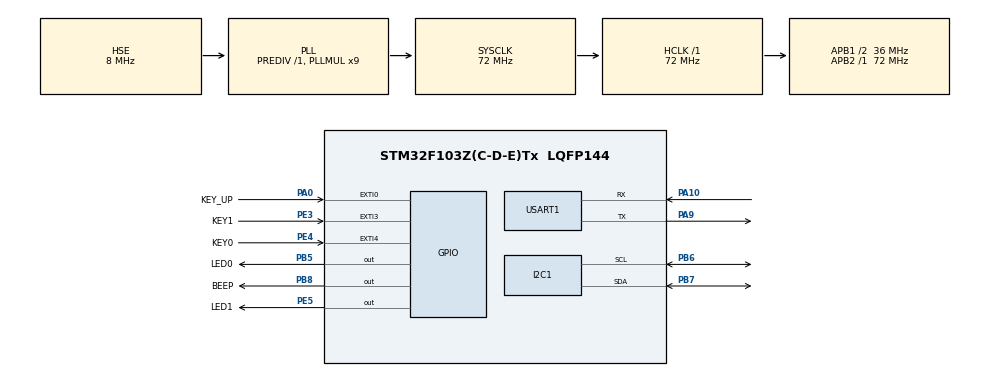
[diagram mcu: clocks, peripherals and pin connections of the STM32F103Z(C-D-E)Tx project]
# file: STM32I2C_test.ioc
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Mcu.Family=STM32F1
Mcu.Name=STM32F103Z(C-D-E)Tx
Mcu.Package=LQFP144
NVIC.EXTI0_IRQn=true\:1\:0\:true\:false\:true\:true\:true\:true
NVIC.EXTI3_IRQn=true\:1\:0\:true\:false\:true\:true\:true\:true
NVIC.EXTI4_IRQn=true\:1\:0\:true\:false\:true\:true\:true\:true
NVIC.I2C1_ER_IRQn=true\:0\:0\:false\:false\:true\:true\:true\:true
NVIC.I2C1_EV_IRQn=true\:0\:0\:false\:false\:true\:true\:true\:true
NVIC.PriorityGroup=NVIC_PRIORITYGROUP_4
NVIC.USART1_IRQn=true\:0\:0\:false\:false\:true\:true\:true\:true
OSC_IN.Mode=HSE-External-Oscillator
OSC_IN.Signal=RCC_OSC_IN
OSC_OUT.Mode=HSE-External-Oscillator
OSC_OUT.Signal=RCC_OSC_OUT
PA0-WKUP.GPIO_Label=KEY_UP
PA0-WKUP.GPIO_ModeDefaultEXTI=GPIO_MODE_IT_FALLING
PA0-WKUP.GPIO_PuPd=GPIO_PULLDOWN
PA0-WKUP.Signal=GPXTI0
PA10.Mode=Asynchronous
PA10.Signal=USART1_RX
PA13.Mode=Serial_Wire
PA13.Signal=SYS_JTMS-SWDIO
PA14.Mode=Serial_Wire
PA14.Signal=SYS_JTCK-SWCLK
PA9.Mode=Asynchronous
PA9.Signal=USART1_TX
PB5.GPIO_Label=LED0
PB5.GPIO_PuPd=GPIO_NOPULL
PB5.Signal=GPIO_Output
PB6.Mode=I2C
PB6.Signal=I2C1_SCL
PB7.Mode=I2C
PB7.Signal=I2C1_SDA
PB8.GPIO_Label=BEEP
PB8.Signal=GPIO_Output
PC14-OSC32_IN.Mode=LSE-External-Oscillator
PC14-OSC32_IN.Signal=RCC_OSC32_IN
PC15-OSC32_OUT.Mode=LSE-External-Oscillator
PC15-OSC32_OUT.Signal=RCC_OSC32_OUT
PE3.GPIO_Label=KEY1
PE3.GPIO_ModeDefaultEXTI=GPIO_MODE_IT_FALLING
PE3.GPIO_PuPd=GPIO_PULLUP
PE3.Signal=GPXTI3
PE4.GPIO_Label=KEY0
PE4.GPIO_ModeDefaultEXTI=GPIO_MODE_IT_FALLING
PE4.GPIO_PuPd=GPIO_PULLUP
PE4.Signal=GPXTI4
PE5.GPIO_Label=LED1
PE5.Signal=GPIO_Output
ProjectManager.HeapSize=0x200
ProjectManager.StackSize=0x400
ProjectManager.TargetToolchain=MDK-ARM V5
RCC.AHBFreq_Value=72000000
RCC.APB1CLKDivider=RCC_HCLK_DIV2
RCC.APB1Freq_Value=36000000
RCC.APB1TimFreq_Value=72000000
RCC.APB2Freq_Value=72000000
RCC.APB2TimFreq_Value=72000000
RCC.HCLKFreq_Value=72000000
RCC.PLLMUL=RCC_PLL_MUL9
RCC.PLLSourceVirtual=RCC_PLLSOURCE_HSE
RCC.SYSCLKFreq_VALUE=72000000
RCC.SYSCLKSource=RCC_SYSCLKSOURCE_PLLCLK
RCC.USBFreq_Value=72000000
USART1.VirtualMode=VM_ASYNC
board=custom

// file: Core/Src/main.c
/* USER CODE BEGIN Header */
/**
  ******************************************************************************
  * @file           : main.c
  * @brief          : Main program body
  ******************************************************************************
  * @attention
  *
  * Copyright (c) 2025 STMicroelectronics.
  * All rights reserved.
  *
  * This software is licensed under terms that can be found in the LICENSE file
  * in the root directory of this software component.
  * If no LICENSE file comes with this software, it is provided AS-IS.
  *
  ******************************************************************************
  */
/* USER CODE END Header */
#include "main.h"
#include "i2c.h"
#include "usart.h"
#include "gpio.h"

/* USER CODE BEGIN PD */
extern uint8_t Buffer[1]; // 来自usart.c
uint8_t data;
uint8_t data_a[8] = {1, 2, 3, 4, 5, 6, 7, 8};
uint8_t data_rec;
uint8_t data_rec_a[8] = {0};
uint8_t addr = 11;
int i;

/* USER CODE END PD */

void SystemClock_Config(void);

int main(void)
{

  /* MCU Configuration--------------------------------------------------------*/

  /* Reset of all peripherals, Initializes the Flash interface and the Systick. */
  HAL_Init();

  /* Configure the system clock */
  SystemClock_Config();

  /* Initialize all configured peripherals */
  MX_GPIO_Init();
  MX_USART1_UART_Init();
  MX_I2C1_Init();
  /* USER CODE BEGIN 2 */
  printf("USART1已准备就绪...\r\n");
  LED0_OFF;
  LED1_OFF;
  BEEP_OFF;
  printf("本次为STM32采用I2C与存储器24C02通讯的实验...\r\n");

  printf("连续读写测试...输入首地址：\r\n");
  scanf("%d", &addr);
  if (EEPROM_PageWrite(addr, data_a, 4) == HAL_OK)
		printf("已发送成功！\r\n");
  else
		printf("发送失败！\r\n");

  if (EEPROM_SeqRead(addr, data_rec_a, 4) == HAL_OK)
  {
	  printf("已接收成功！数据为：\r\n");
	  for(i = 0; i < 8; i++)
		printf("%d  \n", data_rec_a[i]);
  }

  else
		printf("接收失败！\r\n");

  /* USER CODE END 2 */

  /* Infinite loop */
  /* USER CODE BEGIN WHILE */

  while (1)
  {
	  printf("请输入数据data：\r\n");
	  scanf("%d", &data);
	  if (EEPROM_ByteWrite(addr, &data) == HAL_OK)
		printf("已发送成功！\r\n");
	  else
		printf("发送失败！\r\n");

	  //HAL_Delay(50);		//写一次和读一次之间需要短暂的延时

      if (EEPROM_RandomRead(addr, &data_rec) == HAL_OK)
        printf("已接收成功！数据为：%d\r\n", data_rec);
	  else
		printf("接收失败！\r\n");

    /* USER CODE END WHILE */

  }
}

void SystemClock_Config(void)
{
  RCC_OscInitTypeDef RCC_OscInitStruct = {0};
  RCC_ClkInitTypeDef RCC_ClkInitStruct = {0};

  /** Initializes the RCC Oscillators according to the specified parameters
  * in the RCC_OscInitTypeDef structure.
  */
  RCC_OscInitStruct.OscillatorType = RCC_OSCILLATORTYPE_HSE;
  RCC_OscInitStruct.HSEState = RCC_HSE_ON;
  RCC_OscInitStruct.HSEPredivValue = RCC_HSE_PREDIV_DIV1;
  RCC_OscInitStruct.HSIState = RCC_HSI_ON;
  RCC_OscInitStruct.PLL.PLLState = RCC_PLL_ON;
  RCC_OscInitStruct.PLL.PLLSource = RCC_PLLSOURCE_HSE;
  RCC_OscInitStruct.PLL.PLLMUL = RCC_PLL_MUL9;
  if (HAL_RCC_OscConfig(&RCC_OscInitStruct) != HAL_OK)
  {
    Error_Handler();
  }

  /** Initializes the CPU, AHB and APB buses clocks
  */
  RCC_ClkInitStruct.ClockType = RCC_CLOCKTYPE_HCLK|RCC_CLOCKTYPE_SYSCLK
                              |RCC_CLOCKTYPE_PCLK1|RCC_CLOCKTYPE_PCLK2;
  RCC_ClkInitStruct.SYSCLKSource = RCC_SYSCLKSOURCE_PLLCLK;
  RCC_ClkInitStruct.AHBCLKDivider = RCC_SYSCLK_DIV1;
  RCC_ClkInitStruct.APB1CLKDivider = RCC_HCLK_DIV2;
  RCC_ClkInitStruct.APB2CLKDivider = RCC_HCLK_DIV1;

  if (HAL_RCC_ClockConfig(&RCC_ClkInitStruct, FLASH_LATENCY_2) != HAL_OK)
  {
    Error_Handler();
  }
}

void Error_Handler(void)
{
  __disable_irq();
  while (1)
  {
  }
}
